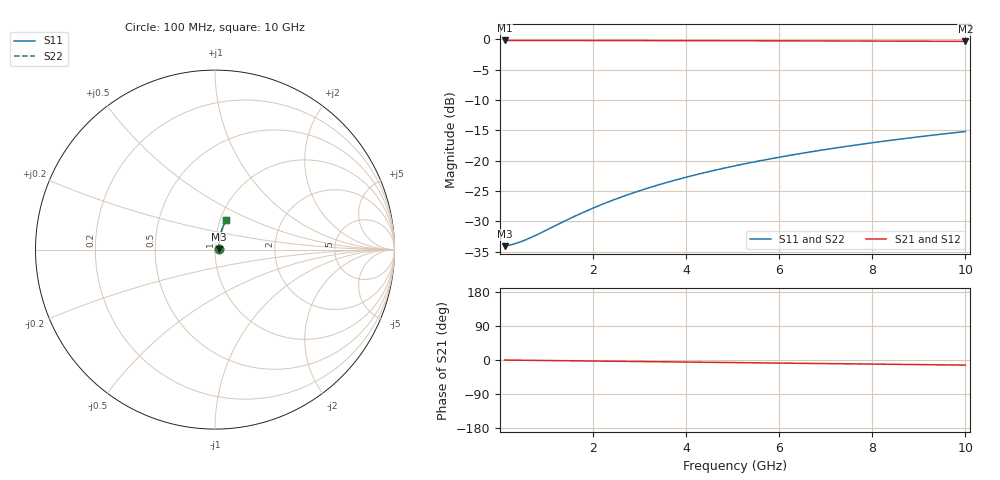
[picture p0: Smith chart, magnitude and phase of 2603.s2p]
# Hz S RI R 50.00
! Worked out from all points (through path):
!   100 points, 100 MHz to 10 GHz, reference 50 ohm
!   highest |S21| = -0.17 dB at 100 MHz (marker M1); lowest = -0.3 dB at 10 GHz (marker M2)
!   group delay of S21, straight-line fit = 3.74 ps
!   lowest |S11| = -34.1 dB at 100 MHz (marker M3), VSWR 1.04, Z = 52 + j0.178 ohm
!   |S11| at or under -10 dB: start of sweep to end of sweep
!   |S22| runs from -34.1 to -15.2 dB; largest |S21 - S12| = 0
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1e8  0.0197 0.00171  0.9803 -0.00232  0.9803 -0.00232  0.0197 0.00171
2e8  0.0198 0.00342  0.9802 -0.00464  0.9802 -0.00464  0.0198 0.00342
3e8  0.0199 0.00513  0.9801 -0.00695  0.9801 -0.00695  0.0199 0.00513
4e8  0.02 0.00684  0.9799 -0.00927  0.9799 -0.00927  0.02 0.00684
6e8  0.0202 0.0103  0.9797 -0.0139  0.9797 -0.0139  0.0202 0.0103
8e8  0.0205 0.0137  0.9795 -0.0185  0.9795 -0.0185  0.0205 0.0137
1.5e9  0.0213 0.0256  0.9786 -0.0347  0.9786 -0.0347  0.0213 0.0256
1.8e9  0.0218 0.0307  0.9781 -0.0416  0.9781 -0.0416  0.0218 0.0307
2.2e9  0.0226 0.0375  0.9773 -0.0509  0.9773 -0.0509  0.0226 0.0375
2.6e9  0.0234 0.0443  0.9764 -0.0601  0.9764 -0.0601  0.0234 0.0443
3e9  0.0244 0.051  0.9754 -0.0693  0.9754 -0.0693  0.0244 0.051
3.4e9  0.0255 0.0578  0.9743 -0.0784  0.9743 -0.0784  0.0255 0.0578
3.8e9  0.0267 0.0645  0.973 -0.0876  0.973 -0.0876  0.0267 0.0645
4.2e9  0.028 0.0712  0.9716 -0.0967  0.9716 -0.0967  0.028 0.0712
4.6e9  0.0295 0.0778  0.9701 -0.1058  0.9701 -0.1058  0.0295 0.0778
5.1e9  0.0315 0.0861  0.968 -0.1171  0.968 -0.1171  0.0315 0.0861
5.9e9  0.0351 0.0992  0.9642 -0.135  0.9642 -0.135  0.0351 0.0992
6.7e9  0.0391 0.1121  0.96 -0.1529  0.96 -0.1529  0.0391 0.1121
7.5e9  0.0437 0.1248  0.9552 -0.1705  0.9552 -0.1705  0.0437 0.1248
8.4e9  0.0493 0.1389  0.9493 -0.1901  0.9493 -0.1901  0.0493 0.1389
9.2e9  0.0548 0.1512  0.9435 -0.2073  0.9435 -0.2073  0.0548 0.1512
1e10  0.0608 0.1632  0.9373 -0.2242  0.9373 -0.2242  0.0608 0.1632
